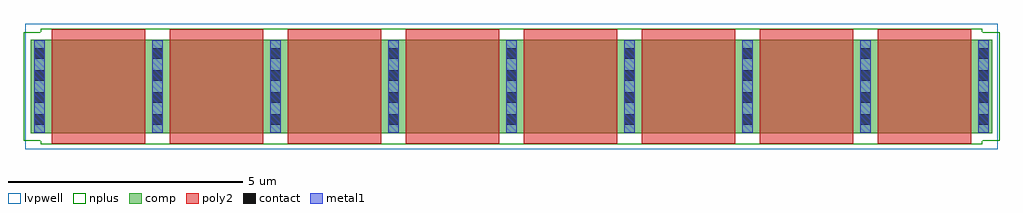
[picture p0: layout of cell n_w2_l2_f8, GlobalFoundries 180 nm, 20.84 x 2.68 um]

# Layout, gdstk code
import gdstk
lib = gdstk.Library(unit=1e-6, precision=1e-09)
def R(c, l, rs):  # rectangles x0, y0, x1, y1
    for r in rs: c.add(gdstk.rectangle(r[:2], r[2:], *l))
def A(c, l, x, y, w, h, nx, ny, dx, dy):  # array of equal rectangles
    R(c, l, [(x+i*dx, y+j*dy, x+i*dx+w, y+j*dy+h) for i in range(nx) for j in range(ny)])
comp = (22, 0)
poly2 = (30, 0)
nplus = (32, 0)
contact = (33, 0)
metal1 = (34, 0)
lvpwell = (204, 0)

n_w2_l2_f8 = lib.new_cell('n_w2_l2_f8')
R(n_w2_l2_f8, comp, [(-10.26,-1,10.26,1)])
A(n_w2_l2_f8, poly2, -9.82, -1.22, 2, 2.44, 8, 1, 2.52, 0)
R(n_w2_l2_f8, nplus, [(-10.05,-1.23,10.05,-1.16), (-10.42,-1.16,10.42,1.16), (-10.05,1.16,10.05,1.23)])
A(n_w2_l2_f8, contact, -10.19, -0.815, 0.22, 0.22, 9, 4, 2.52, 0.47)
A(n_w2_l2_f8, metal1, -10.195, -0.99, 0.23, 1.98, 9, 1, 2.52, 0)
R(n_w2_l2_f8, lvpwell, [(-10.38,-1.34,10.38,1.34)])

lib.write_gds('n_w2_l2_f8.gds')
